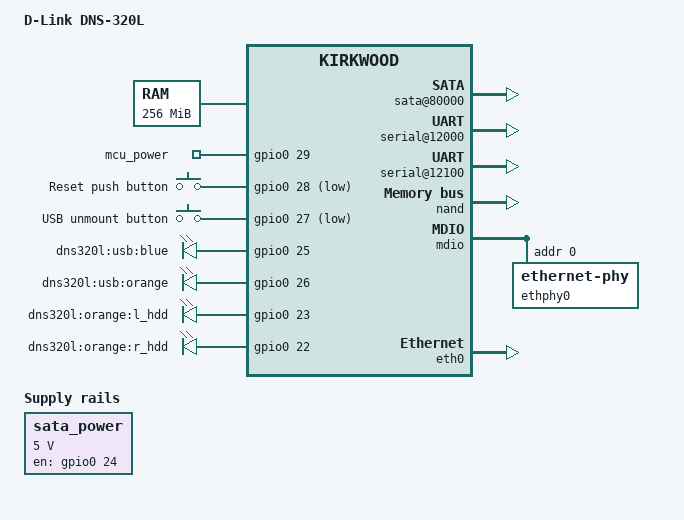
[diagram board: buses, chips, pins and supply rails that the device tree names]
// SPDX-License-Identifier: GPL-2.0-or-later
/*
 * Device Tree file for DLINK DNS-320L
 *
 * Copyright (C) 2024, Zoltan HERPAI <wigyori@uid0.hu>
 * Copyright (C) 2015, Sunke Schlüters <sunke-dev@schlueters.de>
 *
 * This program is free software; you can redistribute it and/or
 * modify it under the terms of the GNU General Public License
 * as published by the Free Software Foundation; either version
 * 2 of the License, or (at your option) any later version.
 *
 * This file is based on the works of:
 * - Sunke Schlüters <sunke-dev@schlueters.de>
 *   - https://github.com/scus1/dns320l/blob/master/kernel/dts/kirkwood-dns320l.dts
 * - Andreas Böhler <dev@aboehler.at>:
 *   - http://www.aboehler.at/doku/doku.php/projects:dns320l
 *   - http://www.aboehler.at/hg/linux-dns320l/file/ba7a60ad7687/linux-3.12/kirkwood-dns320l.dts
 */

/dts-v1/;

#include "kirkwood.dtsi"
#include "kirkwood-6281.dtsi"

/ {
	model = "D-Link DNS-320L";
	compatible = "dlink,dns320l", "marvell,kirkwood-88f6702", "marvell,kirkwood";

	memory {
		device_type = "memory";
		reg = <0x00000000 0x10000000>;
	};

	chosen {
		bootargs = "console=ttyS0,115200n8 earlyprintk";
		stdout-path = &uart0;
	};

	gpio-export {
		compatible = "gpio-export";

		mcu_power {
			gpio-export,name = "mcu_power";
			gpio-export,input = <0>;
			gpios = <&gpio0 29 GPIO_ACTIVE_HIGH>;
		};
	};

	gpio-keys {
		compatible = "gpio-keys";
		#address-cells = <1>;
		#size-cells = <0>;
		pinctrl-0 = <&pmx_buttons>;
		pinctrl-names = "default";

		button@1 {
			label = "Reset push button";
			linux,code = <KEY_RESTART>;
			gpios = <&gpio0 28 GPIO_ACTIVE_LOW>;
		};

		button@2 {
			label = "USB unmount button";
			linux,code = <KEY_EJECTCD>;
			gpios = <&gpio0 27 GPIO_ACTIVE_LOW>;
		};
	};

	gpio-leds {
		compatible = "gpio-leds";
		pinctrl-0 = <&pmx_leds>;
		pinctrl-names = "default";

		blue-usb {
			label = "dns320l:usb:blue";
			gpios = <&gpio0 25 GPIO_ACTIVE_HIGH>;
			linux,default-trigger = "usbport";
		};

		orange-usb {
			label = "dns320l:usb:orange";
			gpios = <&gpio0 26 GPIO_ACTIVE_HIGH>;
		};

		orange-l-hdd {
			label = "dns320l:orange:l_hdd";
			gpios = <&gpio0 23 GPIO_ACTIVE_HIGH>;
		};

		orange-r-hdd {
			label = "dns320l:orange:r_hdd";
			gpios = <&gpio0 22 GPIO_ACTIVE_HIGH>;
		};
	};

	ocp@f1000000 {
		sata@80000 {
			status = "okay";
			nr-ports = <2>;
		};

		serial@12000 {
			status = "okay";
		};

		serial@12100 {
			pinctrl-0 = <&pmx_uart1>;
			pinctrl-names = "default";
			status = "okay";
		};
	};

	regulators {
		compatible = "simple-bus";
		#address-cells = <1>;
		#size-cells = <0>;
		pinctrl-0 = <&pmx_power_sata>;
		pinctrl-names = "default";

		sata_power: regulator@1 {
			compatible = "regulator-fixed";
			reg = <1>;
			regulator-name = "SATA Power";
			regulator-min-microvolt = <5000000>;
			regulator-max-microvolt = <5000000>;
			enable-active-high;
			regulator-always-on;
			regulator-boot-on;
			gpios = <&gpio0 24 GPIO_ACTIVE_HIGH>;
		};
	};
};

&nand {
	pinctrl-0 = <&pmx_nand>;
	pinctrl-names = "default";
	chip-delay = <40>;
	status = "okay";

	partition@0 {
		label = "u-boot";
		reg = <0x0000000 0x100000>;
	};

	partition@100000 {
		label = "ubootenv";
		reg = <0x100000 0x20000>;
	};

	partition@120000 {
		label = "ubi";
		reg = <0x120000 0x6de0000>;
	};

	partition@6f00000 {
		label = "mini firmware";
		reg = <0x6f00000 0xa00000>;
	};

	partition@7900000 {
		label = "config";
		reg = <0x7900000 0x500000>;
	};

	partition@7e00000 {
		label = "my-dlink";
		reg = <0x7e00000 0x200000>;
	};
};

&mdio {
	status = "okay";

	ethphy0: ethernet-phy@0 {
		reg = <0>;
	};
};

&pinctrl {
	pmx_sata1: pmx-sata1 {
		marvell,pins = "mpp20";
		marvell,function = "sata1";
	};

	pmx_sata0: pmx-sata0 {
		marvell,pins = "mpp21";
		marvell,function = "sata0";
	};

	pmx_power_sata: pmx-power-sata {
		marvell,pins = "mpp24";
		marvell,function = "gpio";
	};

	pmx_leds: pmx-leds {
		marvell,pins = "mpp22", "mpp23", "mpp25", "mpp26";
		marvell,function = "gpio";
	};

	pmx_buttons: pmx-buttons {
		marvell,pins = "mpp27", "mpp28", "mpp29";
		marvell,function = "gpio";
	};
};

&eth0 {
	status = "okay";
	ethernet0-port@0 {
		phy-handle = <&ethphy0>;
	};
};
